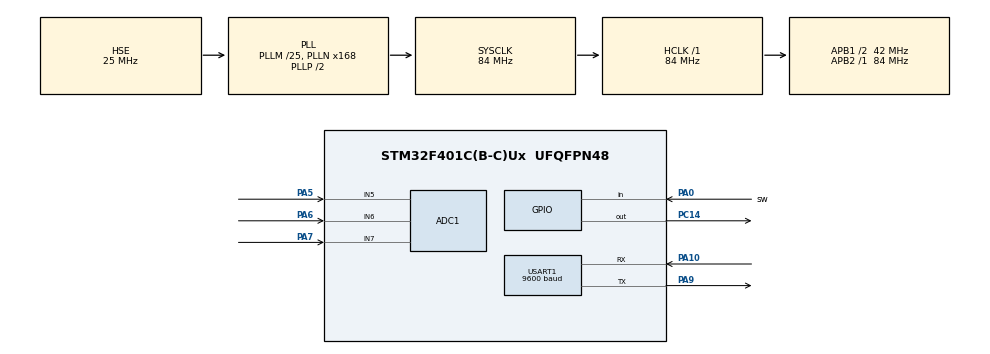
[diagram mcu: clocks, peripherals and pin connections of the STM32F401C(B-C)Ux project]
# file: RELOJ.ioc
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ADC1.Channel-0\#ChannelRegularConversion=ADC_CHANNEL_5
ADC1.Channel-1\#ChannelRegularConversion=ADC_CHANNEL_6
ADC1.Channel-2\#ChannelRegularConversion=ADC_CHANNEL_7
ADC1.NbrOfConversion=3
ADC1.NbrOfConversionFlag=1
ADC1.Rank-0\#ChannelRegularConversion=1
ADC1.Rank-1\#ChannelRegularConversion=2
ADC1.Rank-2\#ChannelRegularConversion=3
ADC1.SamplingTime-0\#ChannelRegularConversion=ADC_SAMPLETIME_84CYCLES
ADC1.SamplingTime-1\#ChannelRegularConversion=ADC_SAMPLETIME_84CYCLES
ADC1.SamplingTime-2\#ChannelRegularConversion=ADC_SAMPLETIME_84CYCLES
ADC1.master=1
Mcu.Family=STM32F4
Mcu.Name=STM32F401C(B-C)Ux
Mcu.Package=UFQFPN48
NVIC.PriorityGroup=NVIC_PRIORITYGROUP_4
PA0-WKUP.GPIO_Label=sw
PA0-WKUP.GPIO_PuPd=GPIO_PULLUP
PA0-WKUP.Signal=GPIO_Input
PA10.Mode=Asynchronous
PA10.Signal=USART1_RX
PA5.Signal=ADCx_IN5
PA6.Signal=ADCx_IN6
PA7.Signal=ADCx_IN7
PA9.Mode=Asynchronous
PA9.Signal=USART1_TX
PC14-OSC32_IN.Signal=GPIO_Output
PH0\ -\ OSC_IN.Mode=HSE-External-Oscillator
PH0\ -\ OSC_IN.Signal=RCC_OSC_IN
PH1\ -\ OSC_OUT.Mode=HSE-External-Oscillator
PH1\ -\ OSC_OUT.Signal=RCC_OSC_OUT
ProjectManager.HeapSize=0x200
ProjectManager.StackSize=0x400
ProjectManager.TargetToolchain=CMake
RCC.48MHZClocksFreq_Value=42000000
RCC.AHBFreq_Value=84000000
RCC.APB1CLKDivider=RCC_HCLK_DIV2
RCC.APB1Freq_Value=42000000
RCC.APB1TimFreq_Value=84000000
RCC.APB2Freq_Value=84000000
RCC.APB2TimFreq_Value=84000000
RCC.CortexFreq_Value=84000000
RCC.HCLKFreq_Value=84000000
RCC.HSE_VALUE=25000000
RCC.HSI_VALUE=16000000
RCC.LSE_VALUE=32768
RCC.PLLM=25
RCC.PLLN=168
RCC.PLLSourceVirtual=RCC_PLLSOURCE_HSE
RCC.SYSCLKFreq_VALUE=84000000
RCC.SYSCLKSource=RCC_SYSCLKSOURCE_PLLCLK
RCC.VCOOutputFreq_Value=168000000
SH.ADCx_IN5.0=ADC1_IN5,IN5
SH.ADCx_IN6.0=ADC1_IN6,IN6
SH.ADCx_IN7.0=ADC1_IN7,IN7
USART1.BaudRate=9600
USART1.VirtualMode=VM_ASYNC
board=custom

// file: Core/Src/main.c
/* USER CODE BEGIN Header */
/**
  ******************************************************************************
  * @file           : main.c
  * @brief          : Main program body
  ******************************************************************************
  * @attention
  *
  * Copyright (c) 2026 STMicroelectronics.
  * All rights reserved.
  *
  * This software is licensed under terms that can be found in the LICENSE file
  * in the root directory of this software component.
  * If no LICENSE file comes with this software, it is provided AS-IS.
  *
  ******************************************************************************
  */
/* USER CODE END Header */
#include "main.h"

/* USER CODE BEGIN Includes */
#include "stdio.h"
#include "string.h"
#include "stdlib.h"
#include "uart.h"
#include "adc_x.h"
/* USER CODE END Includes */

ADC_HandleTypeDef hadc1;

UART_HandleTypeDef huart1;

/* USER CODE BEGIN PV */
uint16_t codigo;
float voltaje;
float bateria;
/* USER CODE END PV */

void SystemClock_Config(void);
static void MX_GPIO_Init(void);
static void MX_USART1_UART_Init(void);
static void MX_ADC1_Init(void);

int main(void)
{

  /* MCU Configuration--------------------------------------------------------*/

  /* Reset of all peripherals, Initializes the Flash interface and the Systick. */
  HAL_Init();

  /* Configure the system clock */
  SystemClock_Config();

  /* Initialize all configured peripherals */
  MX_GPIO_Init();
  MX_USART1_UART_Init();
  MX_ADC1_Init();
  /* USER CODE BEGIN 2 */
  char buffer[50];
  uartx_write_text(&huart1,"Hola mundo\r\n");
  /* USER CODE END 2 */

  /* Infinite loop */
  /* USER CODE BEGIN WHILE */
  while (1)
  {

//codigo=ADC_Read(&hadc1);
 ADC_Read_All(&hadc1, adc1_canales, adc1_codigo);

sprintf(buffer, "ADC Valor = %u\r\n", adc1_codigo[0]);
//uartx_write_text(&huart1, buffer);
    //uartx_write_text(&huart1,"Adios mundo\r\n");
    voltaje = (float)adc1_codigo[0] * 3.3 / 4095.0;
    bateria = (float)adc1_codigo[1] * 3.3 / 4095.0;
    bateria = (bateria * 4); // si se usa divisor de tension 1/2
/*     sprintf(buffer, "Voltaje = %.2f V\r\n", voltaje);
    uartx_write_text(&huart1, buffer);
    sprintf(buffer, "Bateria = %.2f V\r\n", bateria);
    uartx_write_text(&huart1, buffer); */
   /*  sprintf(buffer, "*V%.2f*",voltaje);
    uartx_write_text(&huart1, buffer);
    HAL_Delay(5);
    sprintf(buffer, "*B%.2f*",bateria);
    uartx_write_text(&huart1, buffer);
    HAL_Delay(5); */
    sprintf(buffer, "vol1=%.2f*",voltaje);
    uartx_write_text(&huart1, buffer);

    //sprintf(buffer, "*B%.2f*",bateria);
    //uartx_write_text(&huart1, buffer);
    //HAL_Delay(5);
    if (HAL_GPIO_ReadPin(sw_GPIO_Port, sw_Pin) == GPIO_PIN_RESET)
    {
      //uartx_write_text(&huart1, "*LR255G0B0*");
      //HAL_Delay(5);
      uartx_write_text(&huart1, "led1=on*\r\n");

    }
    else
    {
      //uartx_write_text(&huart1, "*LR0G0B0*");
      //HAL_Delay(5);
      uartx_write_text(&huart1, "led1=off*\r\n");
    }
HAL_Delay(100);
    /* USER CODE END WHILE */

  }
}

void SystemClock_Config(void)
{
  RCC_OscInitTypeDef RCC_OscInitStruct = {0};
  RCC_ClkInitTypeDef RCC_ClkInitStruct = {0};

  /** Configure the main internal regulator output voltage
  */
  __HAL_RCC_PWR_CLK_ENABLE();
  __HAL_PWR_VOLTAGESCALING_CONFIG(PWR_REGULATOR_VOLTAGE_SCALE2);

  /** Initializes the RCC Oscillators according to the specified parameters
  * in the RCC_OscInitTypeDef structure.
  */
  RCC_OscInitStruct.OscillatorType = RCC_OSCILLATORTYPE_HSE;
  RCC_OscInitStruct.HSEState = RCC_HSE_ON;
  RCC_OscInitStruct.PLL.PLLState = RCC_PLL_ON;
  RCC_OscInitStruct.PLL.PLLSource = RCC_PLLSOURCE_HSE;
  RCC_OscInitStruct.PLL.PLLM = 25;
  RCC_OscInitStruct.PLL.PLLN = 168;
  RCC_OscInitStruct.PLL.PLLP = RCC_PLLP_DIV2;
  RCC_OscInitStruct.PLL.PLLQ = 4;
  if (HAL_RCC_OscConfig(&RCC_OscInitStruct) != HAL_OK)
  {
    Error_Handler();
  }

  /** Initializes the CPU, AHB and APB buses clocks
  */
  RCC_ClkInitStruct.ClockType = RCC_CLOCKTYPE_HCLK|RCC_CLOCKTYPE_SYSCLK
                              |RCC_CLOCKTYPE_PCLK1|RCC_CLOCKTYPE_PCLK2;
  RCC_ClkInitStruct.SYSCLKSource = RCC_SYSCLKSOURCE_PLLCLK;
  RCC_ClkInitStruct.AHBCLKDivider = RCC_SYSCLK_DIV1;
  RCC_ClkInitStruct.APB1CLKDivider = RCC_HCLK_DIV2;
  RCC_ClkInitStruct.APB2CLKDivider = RCC_HCLK_DIV1;

  if (HAL_RCC_ClockConfig(&RCC_ClkInitStruct, FLASH_LATENCY_2) != HAL_OK)
  {
    Error_Handler();
  }
}

static void MX_ADC1_Init(void)
{

  ADC_ChannelConfTypeDef sConfig = {0};

  /** Configure the global features of the ADC (Clock, Resolution, Data Alignment and number of conversion)
  */
  hadc1.Instance = ADC1;
  hadc1.Init.ClockPrescaler = ADC_CLOCK_SYNC_PCLK_DIV4;
  hadc1.Init.Resolution = ADC_RESOLUTION_12B;
  hadc1.Init.ScanConvMode = ENABLE;
  hadc1.Init.ContinuousConvMode = DISABLE;
  hadc1.Init.DiscontinuousConvMode = DISABLE;
  hadc1.Init.ExternalTrigConvEdge = ADC_EXTERNALTRIGCONVEDGE_NONE;
  hadc1.Init.ExternalTrigConv = ADC_SOFTWARE_START;
  hadc1.Init.DataAlign = ADC_DATAALIGN_RIGHT;
  hadc1.Init.NbrOfConversion = 3;
  hadc1.Init.DMAContinuousRequests = DISABLE;
  hadc1.Init.EOCSelection = ADC_EOC_SINGLE_CONV;
  if (HAL_ADC_Init(&hadc1) != HAL_OK)
  {
    Error_Handler();
  }

  /** Configure for the selected ADC regular channel its corresponding rank in the sequencer and its sample time.
  */
  sConfig.Channel = ADC_CHANNEL_5;
  sConfig.Rank = 1;
  sConfig.SamplingTime = ADC_SAMPLETIME_84CYCLES;
  if (HAL_ADC_ConfigChannel(&hadc1, &sConfig) != HAL_OK)
  {
    Error_Handler();
  }

  /** Configure for the selected ADC regular channel its corresponding rank in the sequencer and its sample time.
  */
  sConfig.Channel = ADC_CHANNEL_6;
  sConfig.Rank = 2;
  if (HAL_ADC_ConfigChannel(&hadc1, &sConfig) != HAL_OK)
  {
    Error_Handler();
  }

  /** Configure for the selected ADC regular channel its corresponding rank in the sequencer and its sample time.
  */
  sConfig.Channel = ADC_CHANNEL_7;
  sConfig.Rank = 3;
  if (HAL_ADC_ConfigChannel(&hadc1, &sConfig) != HAL_OK)
  {
    Error_Handler();
  }

}

static void MX_USART1_UART_Init(void)
{

  huart1.Instance = USART1;
  huart1.Init.BaudRate = 9600;
  huart1.Init.WordLength = UART_WORDLENGTH_8B;
  huart1.Init.StopBits = UART_STOPBITS_1;
  huart1.Init.Parity = UART_PARITY_NONE;
  huart1.Init.Mode = UART_MODE_TX_RX;
  huart1.Init.HwFlowCtl = UART_HWCONTROL_NONE;
  huart1.Init.OverSampling = UART_OVERSAMPLING_16;
  if (HAL_UART_Init(&huart1) != HAL_OK)
  {
    Error_Handler();
  }

}

static void MX_GPIO_Init(void)
{
  GPIO_InitTypeDef GPIO_InitStruct = {0};

  /* GPIO Ports Clock Enable */
  __HAL_RCC_GPIOC_CLK_ENABLE();
  __HAL_RCC_GPIOH_CLK_ENABLE();
  __HAL_RCC_GPIOA_CLK_ENABLE();

  /*Configure GPIO pin Output Level */
  HAL_GPIO_WritePin(GPIOC, GPIO_PIN_14, GPIO_PIN_RESET);

  /*Configure GPIO pin : PC14 */
  GPIO_InitStruct.Pin = GPIO_PIN_14;
  GPIO_InitStruct.Mode = GPIO_MODE_OUTPUT_PP;
  GPIO_InitStruct.Pull = GPIO_NOPULL;
  GPIO_InitStruct.Speed = GPIO_SPEED_FREQ_LOW;
  HAL_GPIO_Init(GPIOC, &GPIO_InitStruct);

  /*Configure GPIO pin : sw_Pin */
  GPIO_InitStruct.Pin = sw_Pin;
  GPIO_InitStruct.Mode = GPIO_MODE_INPUT;
  GPIO_InitStruct.Pull = GPIO_PULLUP;
  HAL_GPIO_Init(sw_GPIO_Port, &GPIO_InitStruct);

}

void Error_Handler(void)
{
  __disable_irq();
  while (1)
  {
  }
}
